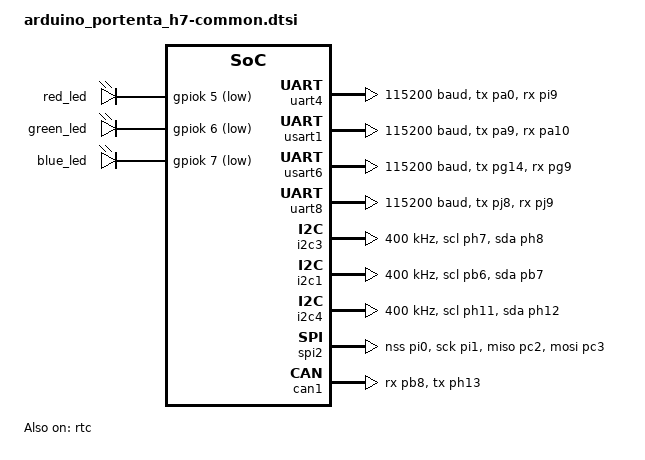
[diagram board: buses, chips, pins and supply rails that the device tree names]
/*
 * Copyright (c) 2022 Benjamin Björnsson <benjamin.bjornsson@gmail.com>.
 *
 * SPDX-License-Identifier: Apache-2.0
 */

/ {
	leds {
		compatible = "gpio-leds";
		red_led: led_0 {
			gpios = <&gpiok 5 GPIO_ACTIVE_LOW>;
		};
		green_led: led_1 {
			gpios = <&gpiok 6 GPIO_ACTIVE_LOW>;
		};
		blue_led: led_2 {
			gpios = <&gpiok 7 GPIO_ACTIVE_LOW>;
		};
	};

	aliases {
		led0 = &red_led;
		led1 = &green_led;
		led2 = &blue_led;
	};
};

&rcc {
	d1cpre = <1>;
	hpre = <1>;
	d1ppre = <1>;
	d2ppre1 = <1>;
	d2ppre2 = <2>;
	d3ppre = <1>;
};

/* UART0 in datasheet */
&uart4 {
	pinctrl-0 = <&uart4_tx_pa0 &uart4_rx_pi9>;
	pinctrl-names = "default";
	current-speed = <115200>;
};

/* UART1 in datasheet */
&usart1 {
	pinctrl-0 = <&usart1_tx_pa9 &usart1_rx_pa10>;
	pinctrl-names = "default";
	current-speed = <115200>;
};

/* UART2 in datasheet */
&usart6 {
	pinctrl-0 = <&usart6_tx_pg14 &usart6_rx_pg9>;
	pinctrl-names = "default";
	current-speed = <115200>;
};

/* UART3 in datasheet */
&uart8 {
	pinctrl-0 = <&uart8_tx_pj8 &uart8_rx_pj9>;
	pinctrl-names = "default";
	current-speed = <115200>;
};

/* I2C0 in datasheet */
&i2c3 {
	pinctrl-0 = <&i2c3_scl_ph7 &i2c3_sda_ph8>;
	pinctrl-names = "default";
	clock-frequency = <I2C_BITRATE_FAST>;
};

/* I2C1 in datasheet */
&i2c1 {
	pinctrl-0 = <&i2c1_scl_pb6 &i2c1_sda_pb7>;
	pinctrl-names = "default";
	clock-frequency = <I2C_BITRATE_FAST>;
};

/* I2C2 in datasheet */
&i2c4 {
	pinctrl-0 = <&i2c4_scl_ph11 &i2c4_sda_ph12>;
	pinctrl-names = "default";
	clock-frequency = <I2C_BITRATE_FAST>;
};

/* I2C3 in datasheet */
&i2c3 {
	pinctrl-0 = <&i2c3_scl_ph7 &i2c3_sda_ph8>;
	pinctrl-names = "default";
	clock-frequency = <I2C_BITRATE_FAST>;
};

/* SPI1 in datasheet */
&spi2 {
	pinctrl-0 = <&spi2_nss_pi0 &spi2_sck_pi1
		     &spi2_miso_pc2 &spi2_mosi_pc3>;
	pinctrl-names = "default";
};

&can1 {
	pinctrl-0 = <&fdcan1_rx_pb8 &fdcan1_tx_ph13>;
	pinctrl-names = "default";
};

&rtc {
	status = "okay";
};

zephyr_udc0: &usbotg_fs {
	pinctrl-0 = <&usb_otg_fs_dm_pa11 &usb_otg_fs_dp_pa12>;
	pinctrl-names = "default";
	status = "disabled";
};
